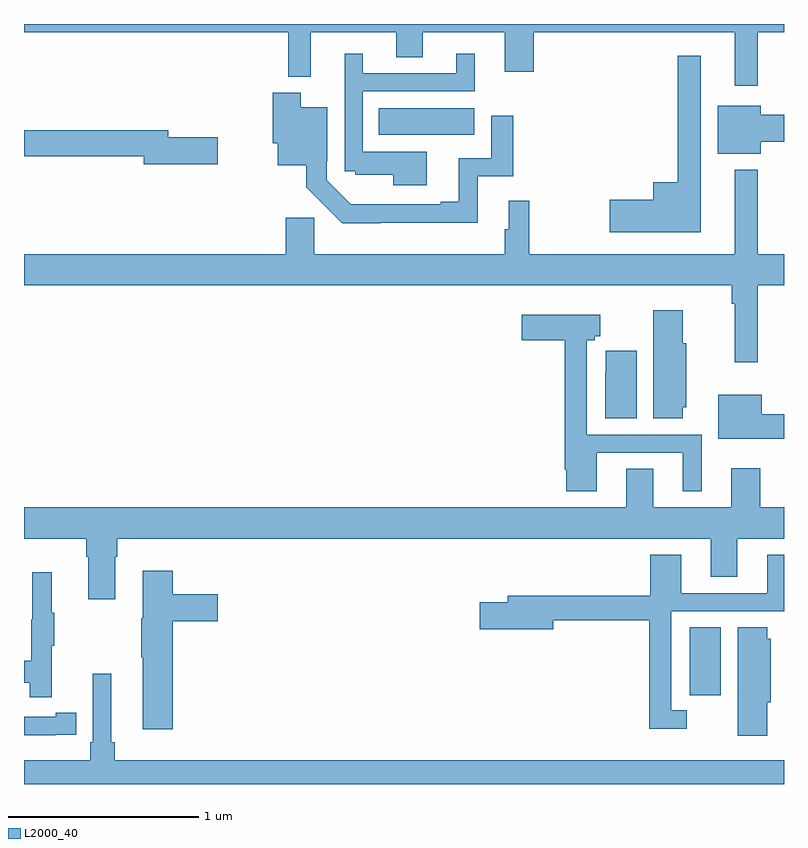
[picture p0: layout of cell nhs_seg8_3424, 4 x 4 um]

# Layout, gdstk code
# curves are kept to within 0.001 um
import gdstk
lib = gdstk.Library(unit=1e-6, precision=1e-09)
def R(c, l, rs):  # rectangles x0, y0, x1, y1
    for r in rs: c.add(gdstk.rectangle(r[:2], r[2:], *l))
def P(c, l, *ps):  # polygons
    for p in ps: c.add(gdstk.Polygon(p, *l))
L2000_40 = (2000, 40)

nhs_seg8_3424 = lib.new_cell('nhs_seg8_3424')
R(nhs_seg8_3424, L2000_40, [(326.504,1090.368,326.668,1090.724), (324.868,1093.316,325.369,1093.456)])
P(nhs_seg8_3424, L2000_40, [(326.863,1093.856),(327,1093.856),(327,1093.9),(323,1093.9),(323,1093.856),(324.391,1093.856),(324.391,1093.623),(324.509,1093.623),(324.509,1093.856),(324.959,1093.856),(324.959,1093.726),(325.099,1093.726),(325.099,1093.856),(325.529,1093.856),(325.529,1093.65),(325.682,1093.65),(325.682,1093.856),(326.741,1093.856),(326.741,1093.575),(326.863,1093.575)],
  [(325.12,1093.228),(324.783,1093.228),(324.783,1093.545),(325.372,1093.545),(325.372,1093.744),(325.274,1093.744),(325.274,1093.641),(324.784,1093.641),(324.784,1093.744),(324.687,1093.744),(324.687,1093.125),(324.744,1093.125),(324.744,1093.106),(324.944,1093.106),(324.944,1093.052),(325.12,1093.052)],
  [(326.563,1093.732),(326.442,1093.732),(326.442,1093.066),(326.312,1093.066),(326.312,1092.974),(326.082,1092.974),(326.082,1092.803),(326.563,1092.803)],
  [(324.875,1092.854),(325.387,1092.854),(325.387,1093.098),(325.574,1093.098),(325.574,1093.417),(325.458,1093.417),(325.458,1093.194),(325.289,1093.194),(325.289,1092.964),(325.193,1092.964),(325.193,1092.951),(324.72,1092.952),(324.594,1093.077),(324.594,1093.177),(324.597,1093.177),(324.597,1093.462),(324.457,1093.462),(324.457,1093.537),(324.308,1093.537),(324.308,1093.272),(324.335,1093.272),(324.335,1093.157),(324.486,1093.157),(324.486,1093.041),(324.676,1092.852),(324.875,1092.852)],
  [(326.878,1093.28),(327,1093.28),(327,1093.422),(326.878,1093.422),(326.878,1093.471),(326.651,1093.471),(326.651,1093.217),(326.878,1093.217)],
  [(324.019,1093.304),(323.758,1093.304),(323.758,1093.34),(323,1093.34),(323,1093.204),(323.63,1093.204),(323.63,1093.162),(324.019,1093.162)],
  [(326.861,1092.524),(327,1092.524),(327,1092.688),(326.863,1092.688),(326.863,1093.132),(326.741,1093.132),(326.741,1092.688),(325.66,1092.688),(325.66,1092.97),(325.55,1092.97),(325.55,1092.821),(325.531,1092.821),(325.531,1092.688),(324.527,1092.688),(324.527,1092.879),(324.377,1092.879),(324.377,1092.688),(323,1092.688),(323,1092.524),(326.725,1092.524),(326.725,1092.428),(326.74,1092.428),(326.74,1092.12),(326.861,1092.12)],
  [(326.467,1091.883),(326.485,1091.883),(326.485,1092.219),(326.467,1092.219),(326.467,1092.394),(326.312,1092.394),(326.312,1091.824),(326.467,1091.824)],
  [(326.014,1091.643),(326.468,1091.643),(326.468,1091.442),(326.566,1091.442),(326.566,1091.739),(325.962,1091.739),(325.962,1092.236),(326.004,1092.236),(326.004,1092.256),(326.033,1092.256),(326.033,1092.37),(325.62,1092.37),(325.62,1092.236),(325.846,1092.236),(325.846,1091.554),(325.853,1091.554),(325.853,1091.442),(326.014,1091.442)],
  [(326.224,1092.181),(326.063,1092.181),(326.063,1092.068),(326.06,1092.068),(326.06,1091.824),(326.224,1091.824)],
  [(326.98,1091.718),(327,1091.718),(327,1091.846),(326.884,1091.846),(326.884,1091.95),(326.654,1091.95),(326.654,1091.717),(326.98,1091.717)],
  [(323.479,1091.096),(323.492,1091.096),(323.492,1091.192),(326.615,1091.192),(326.615,1090.99),(326.755,1090.99),(326.755,1091.192),(327,1091.192),(327,1091.356),(326.876,1091.356),(326.876,1091.563),(326.723,1091.563),(326.723,1091.356),(326.311,1091.356),(326.311,1091.558),(326.171,1091.558),(326.171,1091.356),(323,1091.356),(323,1091.192),(323.327,1091.192),(323.327,1091.096),(323.339,1091.096),(323.339,1090.872),(323.479,1090.872)],
  [(326.488,1090.287),(326.406,1090.287),(326.406,1090.809),(327,1090.809),(327,1091.107),(326.912,1091.107),(326.912,1090.905),(326.458,1090.905),(326.458,1091.107),(326.297,1091.107),(326.297,1090.891),(325.547,1090.891),(325.547,1090.857),(325.398,1090.857),(325.398,1090.715),(325.786,1090.715),(325.786,1090.762),(326.29,1090.762),(326.29,1090.19),(326.488,1090.19)],
  [(323.783,1090.757),(324.019,1090.757),(324.019,1090.899),(323.783,1090.899),(323.783,1091.023),(323.624,1091.023),(323.624,1090.773),(323.617,1090.773),(323.617,1090.567),(323.624,1090.567),(323.624,1090.188),(323.783,1090.188)],
  [(323.147,1090.627),(323.158,1090.627),(323.158,1090.801),(323.147,1090.801),(323.147,1091.014),(323.044,1091.014),(323.044,1090.764),(323.037,1090.764),(323.037,1090.55),(323,1090.55),(323,1090.434),(323.029,1090.434),(323.029,1090.356),(323.147,1090.356)],
  [(326.911,1090.329),(326.929,1090.329),(326.929,1090.665),(326.911,1090.665),(326.911,1090.724),(326.756,1090.724),(326.756,1090.155),(326.911,1090.155)],
  [(327,1090.024),(323.477,1090.024),(323.477,1090.12),(323.458,1090.12),(323.458,1090.48),(323.361,1090.48),(323.361,1090.12),(323.348,1090.12),(323.348,1090.024),(323,1090.024),(323,1089.9),(327,1089.9)],
  [(323.168,1090.158),(323.276,1090.158),(323.276,1090.274),(323.168,1090.274),(323.168,1090.254),(323,1090.254),(323,1090.157),(323.168,1090.157)])

lib.write_gds('nhs_seg8_3424.gds')
